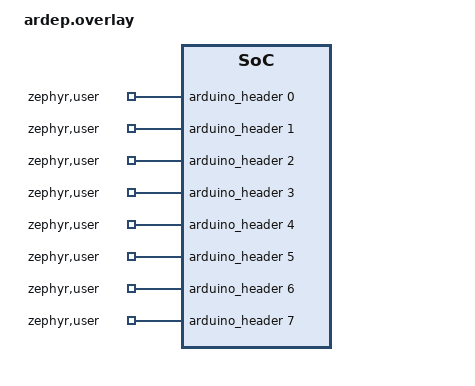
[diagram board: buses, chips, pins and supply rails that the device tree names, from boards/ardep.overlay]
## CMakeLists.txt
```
# SPDX-FileCopyrightText: Copyright (C) Frickly Systems GmbH
# SPDX-FileCopyrightText: Copyright (C) MBition GmbH
#
# SPDX-License-Identifier: Apache-2.0

cmake_minimum_required(VERSION 3.20.0)
find_package(Zephyr REQUIRED HINTS $ENV{ZEPHYR_BASE})
project(hardware_test)

FILE(GLOB app_sources src/*.c)
target_sources(app PRIVATE ${app_sources})
```

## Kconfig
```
# Copyright (C) Frickly Systems GmbH
# Copyright (C) MBition GmbH
#
# SPDX-License-Identifier: Apache-2.0

menu "Zephyr"
source "Kconfig.zephyr"
endmenu

module = APP
module-str = APP
source "subsys/logging/Kconfig.template.log_config"

config UART_TEST_DURATION_MS
    int "UART test duration in milliseconds"
    default 5000
    help
      Duration for which the UART tests will run.

config LIN_PRE_TEST_DELAY_MS
    int "LIN pre-test delay in milliseconds"
    default 1000
    help
      Delay before starting LIN frame transmission.

config LIN_MESSAGE_DELAY_MS
    int "LIN message delay in milliseconds"
    default 100
    help
      Delay between LIN messages.

config CAN_PRE_TEST_DELAY_MS
    int "CAN pre-test delay in milliseconds"
    default 1000
    help
      Delay before starting CAN frame transmission.

config CAN_FRAME_DELAY_MS
    int "CAN frame delay in milliseconds"
    default 50
    help
      Delay between CAN frames.

config CAN_POST_TEST_DELAY_MS
    int "CAN post-test delay in milliseconds"
    default 300
    help
      Delay after CAN tests before stopping.

config GPIO_PRE_TEST_DELAY_MS
    int "GPIO pre-test delay in milliseconds"
    default 300
    help
      Delay before starting GPIO toggle tests.

config GPIO_TOGGLE_DELAY_MS
    int "GPIO toggle delay in milliseconds"
    default 10
    help
      Delay for GPIO toggle operations.

config GPIO_POST_TEST_DELAY_MS
    int "GPIO post-test delay in milliseconds"
    default 100
    help
      Delay after GPIO tests are finished.
```

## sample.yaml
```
# Copyright (C) Frickly Systems GmbH
# Copyright (C) MBition GmbH

sample:
  name: Hardware Test
  description: Test the hardware of the ardep board
common:
  build_only: true
  integration_platforms:
    - ardep
tests:
  sample.hardware_test:
    integration_platforms:
      - ardep
```

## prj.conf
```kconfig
CONFIG_LOG=y
CONFIG_LOG_BACKEND_SHOW_COLOR=n
CONFIG_APP_LOG_LEVEL_INF=y
CONFIG_LOG_BUFFER_SIZE=2048

# get raw timestamp in [ms]
CONFIG_LOG_BACKEND_FORMAT_TIMESTAMP=n

CONFIG_CONSOLE_SUBSYS=y
CONFIG_CONSOLE_GETLINE=y

CONFIG_GPIO=y
CONFIG_HWINFO=y
CONFIG_CAN=y

# Disable UDS for no error logs
CONFIG_UDS=n

CONFIG_ARDEP_USB_PRODUCT_STRING="ARDEP Board SUT"

CONFIG_UART_TEST_DURATION_MS=3000
```

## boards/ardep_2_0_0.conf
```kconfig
# Copyright (C) Frickly Systems GmbH
# Copyright (C) MBition GmbH
#
# SPDX-License-Identifier: Apache-2.0

CONFIG_USB_DEVICE_STACK=y
CONFIG_USB_DEVICE_INITIALIZE_AT_BOOT=y
```

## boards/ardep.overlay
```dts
/*
 * SPDX-FileCopyrightText: Copyright (C) Frickly Systems GmbH
 * SPDX-FileCopyrightText: Copyright (C) MBition GmbH
 *
 * SPDX-License-Identifier: Apache-2.0
 */

/ {
    zephyr,user {
        gpios = <&arduino_header 0 GPIO_ACTIVE_HIGH>,
                <&arduino_header 1 GPIO_ACTIVE_HIGH>,
                <&arduino_header 2 GPIO_ACTIVE_HIGH>,
                <&arduino_header 3 GPIO_ACTIVE_HIGH>,
                <&arduino_header 4 GPIO_ACTIVE_HIGH>,
                <&arduino_header 5 GPIO_ACTIVE_HIGH>,
                <&arduino_header 6 GPIO_ACTIVE_HIGH>,
                <&arduino_header 7 GPIO_ACTIVE_HIGH>,
                <&arduino_header 8 GPIO_ACTIVE_HIGH>,
                <&arduino_header 9 GPIO_ACTIVE_HIGH>,
                <&arduino_header 10 GPIO_ACTIVE_HIGH>,
                <&arduino_header 11 GPIO_ACTIVE_HIGH>,
                <&arduino_header 12 GPIO_ACTIVE_HIGH>,
                <&arduino_header 13 GPIO_ACTIVE_HIGH>,
                <&arduino_header 14 GPIO_ACTIVE_HIGH>,
                <&arduino_header 15 GPIO_ACTIVE_HIGH>,
                <&arduino_header 16 GPIO_ACTIVE_HIGH>,
                <&arduino_header 17 GPIO_ACTIVE_HIGH>,
                <&arduino_header 18 GPIO_ACTIVE_HIGH>,
                <&arduino_header 19 GPIO_ACTIVE_HIGH>,
                <&arduino_header 20 GPIO_ACTIVE_HIGH>,
                <&arduino_header 21 GPIO_ACTIVE_HIGH>,

                <&gpioe 15 GPIO_ACTIVE_HIGH>, // HV Shield 1
                <&gpioe 14 GPIO_ACTIVE_HIGH>,
                <&gpioe 13 GPIO_ACTIVE_HIGH>,
                <&gpioe 12 GPIO_ACTIVE_HIGH>, // HV 4
                <&gpioe 11 GPIO_ACTIVE_HIGH>, // HV 7
                <&gpioe 10 GPIO_ACTIVE_HIGH>,
                <&gpioe 9 GPIO_ACTIVE_HIGH>,
                <&gpioe 8 GPIO_ACTIVE_HIGH>,
                <&gpioe 7 GPIO_ACTIVE_HIGH>,
                <&gpiob 2 GPIO_ACTIVE_HIGH>,
                <&gpiob 1 GPIO_ACTIVE_HIGH>,
                <&gpioc 5 GPIO_ACTIVE_HIGH>, // HV 14
                <&gpioc 4 GPIO_ACTIVE_HIGH>, // HV 17
                <&gpioa 6 GPIO_ACTIVE_HIGH>, // HV 19
                <&gpioa 5 GPIO_ACTIVE_HIGH>,
                <&gpioa 4 GPIO_ACTIVE_HIGH>,
                <&gpioa 2 GPIO_ACTIVE_HIGH>,
                <&gpioa 0 GPIO_ACTIVE_HIGH>,
                <&gpiof 2 GPIO_ACTIVE_HIGH>,
                <&gpioc 2 GPIO_ACTIVE_HIGH>,
                <&gpioc 0 GPIO_ACTIVE_HIGH>, // HV 26
                <&gpiof 10 GPIO_ACTIVE_HIGH>, // HV 29
                <&gpiof 9 GPIO_ACTIVE_HIGH>,
                <&gpioc 15 GPIO_ACTIVE_HIGH>,
                <&gpioc 14 GPIO_ACTIVE_HIGH> // HV 3
                ;
                
        uarts = <&uart_a>, 
                <&uart_b>;
        
        cans = <&can_a>,
               <&can_b>;
               
        lins = <&lin_uart>;
    };
};

&arduino_i2c {
    status = "disabled";
};

&arduino_spi {
    status = "disabled";
};

&arduino_serial {
    status = "disabled";
};

&adc1 {
    status = "disabled";
};

&adc2 {
    status = "disabled";
};

&adc3 {
    status = "disabled";
};

&adc4 {
    status = "disabled";
};

&dac1 {
    status = "disabled";
};

&dac2 {
    status = "disabled";
};
```

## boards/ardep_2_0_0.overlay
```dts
/*
 * SPDX-FileCopyrightText: Copyright (c) 2019 STMicroelectronics.
 * SPDX-FileCopyrightText: Copyright (C) Frickly Systems GmbH
 * SPDX-FileCopyrightText: Copyright (C) MBition GmbH
 *
 * SPDX-License-Identifier: Apache-2.0
 */

/ {
    chosen {
        zephyr,console = &usb_cdc_acm;
    };
};

&usb {
    status = "okay";

    usb_cdc_acm: usb-cdc-acm {
        status = "okay";
        compatible = "zephyr,cdc-acm-uart";
    };
};
```

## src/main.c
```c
/*
 * SPDX-FileCopyrightText: Copyright (C) Frickly Systems GmbH
 * SPDX-FileCopyrightText: Copyright (C) MBition GmbH
 *
 * SPDX-License-Identifier: Apache-2.0
 */

#include "zephyr/devicetree.h"
#include "zephyr/drivers/gpio.h"
#include "zephyr/logging/log.h"
#include "zephyr/sys/printk.h"

#include <string.h>

#include <zephyr/console/console.h>
#include <zephyr/kernel.h>

#define LOG_MODULE_NAME sut
LOG_MODULE_REGISTER(LOG_MODULE_NAME, CONFIG_APP_LOG_LEVEL);

#define COMMAND_MAX_LEN 64
#define COMMAND_QUEUE_LEN 4
#define COMMAND_RECEIVER_STACK_SIZE 1024
#define COMMAND_DISPATCH_STACK_SIZE 2048

K_MSGQ_DEFINE(command_queue, COMMAND_MAX_LEN, COMMAND_QUEUE_LEN, 4);
K_MUTEX_DEFINE(command_mutex);

K_THREAD_STACK_DEFINE(command_receiver_stack, COMMAND_RECEIVER_STACK_SIZE);
K_THREAD_STACK_DEFINE(command_dispatch_stack, COMMAND_DISPATCH_STACK_SIZE);

static struct k_thread command_receiver_thread_data;
static struct k_thread command_dispatch_thread_data;

void gpio_test(void);
void log_hardware_info(void);
void uart_test(void);
void can_test(void);
void lin_test(void);

static void command_receiver_thread(void* p1, void* p2, void* p3);
static void command_dispatch_thread(void* p1, void* p2, void* p3);

int main() {
  console_getline_init();
  LOG_INF("Tester Firmware started");

  k_tid_t receiver_tid = k_thread_create(
      &command_receiver_thread_data, command_receiver_stack,
      K_THREAD_STACK_SIZEOF(command_receiver_stack), command_receiver_thread,
      NULL, NULL, NULL, K_PRIO_PREEMPT(1), 0, K_NO_WAIT);

  k_tid_t dispatch_tid = k_thread_create(
      &command_dispatch_thread_data, command_dispatch_stack,
      K_THREAD_STACK_SIZEOF(command_dispatch_stack), command_dispatch_thread,
      NULL, NULL, NULL, K_PRIO_PREEMPT(1), 0, K_NO_WAIT);

  k_thread_name_set(receiver_tid, "cmd_rx");
  k_thread_name_set(dispatch_tid, "cmd_dispatch");

  while (true) {
    k_msleep(1000);
  }
}

static void execute_command(const char* command) {
  if (strcmp(command, "hwInfo start") == 0) {
    LOG_INF("hwInfo start");
    log_hardware_info();
    LOG_INF("hwInfo stop");
  } else if (strcmp(command, "gpio start") == 0) {
    LOG_INF("gpio start");
    gpio_test();
    LOG_INF("gpio stop");
  } else if (strcmp(command, "can start") == 0) {
    LOG_INF("can start");
    can_test();
    LOG_INF("can stop");
  } else if (strcmp(command, "lin start") == 0) {
    LOG_INF("lin start");
    lin_test();
    LOG_INF("lin stop");
  } else if (strcmp(command, "uart start") == 0) {
    LOG_INF("uart start");
    uart_test();
    LOG_INF("uart stop");
  } else {
    LOG_ERR("Unknown command: %s", command);
  }
}

static void dispatch_command(const char* command) {
  int err = k_mutex_lock(&command_mutex, K_FOREVER);

  if (err != 0) {
    LOG_ERR("Failed to lock command mutex (err %d)", err);
    return;
  }

  execute_command(command);

  err = k_mutex_unlock(&command_mutex);
  if (err != 0) {
    LOG_ERR("Failed to unlock command mutex (err %d)", err);
  }
}

static void handle_console_input(void) {
  char* input = console_getline();

  if (input == NULL) {
    return;
  }

  size_t length = strlen(input);
  if (length >= COMMAND_MAX_LEN) {
    LOG_WRN("Command too long, will be truncated");
  }

  char command[COMMAND_MAX_LEN];
  memset(command, 0, sizeof(command));
  strncpy(command, input, sizeof(command) - 1);

  if (strcmp("idle", command) == 0) {
    int err = k_mutex_lock(&command_mutex, K_NO_WAIT);
    if (err != 0) {
      LOG_INF("idle false");
    } else {
      LOG_INF("idle true");
    }
    k_mutex_unlock(&command_mutex);

    return;
  }

  int err = k_msgq_put(&command_queue, command, K_FOREVER);
  if (err != 0) {
    LOG_ERR("Failed to enqueue command (err %d)", err);
  }
}

static void command_receiver_thread(void* p1, void* p2, void* p3) {
  ARG_UNUSED(p1);
  ARG_UNUSED(p2);
  ARG_UNUSED(p3);

  while (true) {
    handle_console_input();
  }
}

static void command_dispatch_thread(void* p1, void* p2, void* p3) {
  ARG_UNUSED(p1);
  ARG_UNUSED(p2);
  ARG_UNUSED(p3);

  char command[COMMAND_MAX_LEN];

  while (true) {
    int err = k_msgq_get(&command_queue, command, K_FOREVER);

    if (err != 0) {
      LOG_ERR("Failed to retrieve command (err %d)", err);
      continue;
    }

    command[COMMAND_MAX_LEN - 1] = '\0';

    dispatch_command(command);
  }
}
```

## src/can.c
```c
/*
 * SPDX-FileCopyrightText: Copyright (C) Frickly Systems GmbH
 * SPDX-FileCopyrightText: Copyright (C) MBition GmbH
 *
 * SPDX-License-Identifier: Apache-2.0
 */

#include "zephyr/device.h"
#include "zephyr/devicetree.h"
#include "zephyr/drivers/can.h"
#include "zephyr/logging/log.h"
#include "zephyr/sys/printk.h"

#include <zephyr/kernel.h>

#define LOG_MODULE_NAME sut
LOG_MODULE_DECLARE(LOG_MODULE_NAME, CONFIG_APP_LOG_LEVEL);

#define DEVICE_DT_BY_PROP_IDX(node_id, prop, idx) \
  DEVICE_DT_GET(DT_PHANDLE_BY_IDX(node_id, prop, idx))

#define ZEPHYR_USER_NODE DT_PATH(zephyr_user)

static const struct device* const can_devices[] = {DT_FOREACH_PROP_ELEM_SEP(
    ZEPHYR_USER_NODE, cans, DEVICE_DT_BY_PROP_IDX, (, ))};

static void init_can(void) {
  for (int i = 0; i < ARRAY_SIZE(can_devices); i++) {
    const struct device* dev = can_devices[i];
    int err;

    if (!device_is_ready(dev)) {
      LOG_ERR("%s: device not ready", dev->name);
      continue;
    }

    err = can_start(dev);
    if (err != 0) {
      LOG_ERR("%s: error starting CAN controller (err %d)", dev->name, err);
    }
  }
}

static void send_can_frame(void) {
  for (int i = 0; i < ARRAY_SIZE(can_devices); i++) {
    const struct device* dev = can_devices[i];
    struct can_frame frame = {0};

    frame.id = 0x65;
    frame.data[0] = 0x34;
    frame.dlc = 1;

    LOG_INF("%s: frame id: %x, data: %x", dev->name, frame.id, frame.data[0]);

    int rc = can_send(dev, &frame, K_NO_WAIT, NULL, NULL);
    if (rc < 0) {
      LOG_ERR("%s: error sending CAN frame: %d", dev->name, rc);
    }
  }
}

static void send_frames(void) {
  for (int i = 0; i < 10; i++) {
    send_can_frame();
    k_msleep(CONFIG_CAN_FRAME_DELAY_MS);
  }
}

static void stop_can(void) {
  for (int i = 0; i < ARRAY_SIZE(can_devices); i++) {
    can_stop(can_devices[i]);
  }
}

void can_test(void) {
  init_can();
  k_msleep(CONFIG_CAN_PRE_TEST_DELAY_MS);

  send_frames();

  k_msleep(CONFIG_CAN_POST_TEST_DELAY_MS);
  stop_can();
}
```

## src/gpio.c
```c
/*
 * SPDX-FileCopyrightText: Copyright (C) Frickly Systems GmbH
 * SPDX-FileCopyrightText: Copyright (C) MBition GmbH
 *
 * SPDX-License-Identifier: Apache-2.0
 */

#include "zephyr/devicetree.h"
#include "zephyr/drivers/gpio.h"
#include "zephyr/logging/log.h"

#include <zephyr/kernel.h>

#define LOG_MODULE_NAME sut
LOG_MODULE_DECLARE(LOG_MODULE_NAME, CONFIG_APP_LOG_LEVEL);

#define ZEPHYR_USER_NODE DT_PATH(zephyr_user)

static const struct gpio_dt_spec gpios[] = {DT_FOREACH_PROP_ELEM_SEP(
    ZEPHYR_USER_NODE, gpios, GPIO_DT_SPEC_GET_BY_IDX, (, ))};

static void gpio_ready_check() {
  LOG_INF("gpio ready check");
  for (int i = 0; i < ARRAY_SIZE(gpios); i++) {
    if (!gpio_is_ready_dt(&gpios[i])) {
      LOG_ERR("gpio device not ready: %s", gpios[i].port->name);
    }
  }
  LOG_INF("gpio ready check finished");
}

static void gpio_initialize() {
  LOG_INF("gpio configure");
  for (int i = 0; i < ARRAY_SIZE(gpios); i++) {
    int ret = gpio_pin_configure_dt(&gpios[i], GPIO_OUTPUT_INACTIVE);

    if (ret < 0) {
      LOG_ERR("gpio configure %s pin %d with error %d", gpios[i].port->name,
              gpios[i].pin, ret);
    }
  }

  LOG_INF("gpio configure finished");
}
static void gpio_toggle() {
  for (int i = 0; i < ARRAY_SIZE(gpios); i++) {
    LOG_INF("%s pin %d on", gpios[i].port->name, gpios[i].pin);
    gpio_pin_set_dt(&gpios[i], 1);
    k_msleep(CONFIG_GPIO_TOGGLE_DELAY_MS);
    gpio_pin_set_dt(&gpios[i], 0);
    k_msleep(CONFIG_GPIO_TOGGLE_DELAY_MS);
  }
}

static void disable_gpios() {
  for (int i = 0; i < ARRAY_SIZE(gpios); i++) {
    gpio_pin_set_dt(&gpios[i], 0);
  }
}

void gpio_test(void) {
  gpio_ready_check();
  gpio_initialize();
  k_msleep(CONFIG_GPIO_PRE_TEST_DELAY_MS);
  gpio_toggle();
  k_msleep(CONFIG_GPIO_POST_TEST_DELAY_MS);
  disable_gpios();
}
```

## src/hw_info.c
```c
/*
 * SPDX-FileCopyrightText: Copyright (C) Frickly Systems GmbH
 * SPDX-FileCopyrightText: Copyright (C) MBition GmbH
 *
 * SPDX-License-Identifier: Apache-2.0
 */

#include "zephyr/drivers/hwinfo.h"
#include "zephyr/kernel.h"
#include "zephyr/logging/log.h"

#define LOG_MODULE_NAME sut
LOG_MODULE_DECLARE(LOG_MODULE_NAME, CONFIG_APP_LOG_LEVEL);

uint8_t hw_info[60];

void log_hardware_info(void) {
  ssize_t length = hwinfo_get_device_id(hw_info, 60);

  char hex_string[length * 2 + 1];
  for (int i = 0; i < length; i++) {
    sprintf(&hex_string[i * 2], "%02X", hw_info[i]);
  }
  hex_string[length * 2] = '\0';

  uint8_t i;
  for (i = 0; i < 60; i++) {
    hw_info[i] = 0;
  }

  LOG_INF("id: %s", hex_string);
}
```

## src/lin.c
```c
/*
 * SPDX-FileCopyrightText: Copyright (C) Frickly Systems GmbH
 * SPDX-FileCopyrightText: Copyright (C) MBition GmbH
 *
 * SPDX-License-Identifier: Apache-2.0
 */

#include "zephyr/logging/log.h"
#include "zephyr/sys/printk.h"

#include <zephyr/console/console.h>
#include <zephyr/device.h>
#include <zephyr/drivers/uart.h>
#include <zephyr/kernel.h>

#define LOG_MODULE_NAME sut
LOG_MODULE_DECLARE(LOG_MODULE_NAME, CONFIG_APP_LOG_LEVEL);

#define DEVICE_DT_BY_PROP_IDX(node_id, prop, idx) \
  DEVICE_DT_GET(DT_PHANDLE_BY_IDX(node_id, prop, idx))

#define ZEPHYR_USER_NODE DT_PATH(zephyr_user)

static const struct device* const lin_devices[] = {DT_FOREACH_PROP_ELEM_SEP(
    ZEPHYR_USER_NODE, lins, DEVICE_DT_BY_PROP_IDX, (, ))};

static void setup_uarts() {
  for (int i = 0; i < ARRAY_SIZE(lin_devices); i++) {
    const struct device* dev = lin_devices[i];
    if (!device_is_ready(dev)) {
      LOG_ERR("%s: UART device not ready", dev->name);
      continue;
    }

    char byte;
    while (uart_fifo_read(dev, &byte, 1) == 1) {
    }
  }
}

static void send_messages() {
  for (int i = 0; i < ARRAY_SIZE(lin_devices); i++) {
    const struct device* dev = lin_devices[i];
    for (int j = 0; j < 4; j++) {
      LOG_INF("%s sending: f", dev->name);
      uart_poll_out(dev, 'f');
      k_msleep(CONFIG_LIN_MESSAGE_DELAY_MS);
    }
  }
}

void lin_test(void) {
  setup_uarts();
  k_msleep(CONFIG_LIN_PRE_TEST_DELAY_MS);
  send_messages();
}
```

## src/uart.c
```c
/*
 * SPDX-FileCopyrightText: Copyright (C) Frickly Systems GmbH
 * SPDX-FileCopyrightText: Copyright (C) MBition GmbH
 *
 * SPDX-License-Identifier: Apache-2.0
 */

#include "zephyr/logging/log.h"
#include "zephyr/sys/printk.h"

#include <zephyr/console/console.h>
#include <zephyr/device.h>
#include <zephyr/drivers/uart.h>
#include <zephyr/kernel.h>

#define LOG_MODULE_NAME sut
LOG_MODULE_DECLARE(LOG_MODULE_NAME, CONFIG_APP_LOG_LEVEL);

#define DEVICE_DT_BY_PROP_IDX(node_id, prop, idx) \
  DEVICE_DT_GET(DT_PHANDLE_BY_IDX(node_id, prop, idx))

#define ZEPHYR_USER_NODE DT_PATH(zephyr_user)

static const struct device* const uart_devices[] = {DT_FOREACH_PROP_ELEM_SEP(
    ZEPHYR_USER_NODE, uarts, DEVICE_DT_BY_PROP_IDX, (, ))};

static void uart_interrupt_callback(const struct device* dev, void* user_data) {
  uint8_t byte;

  if (!uart_irq_update(dev)) {
    return;
  }

  if (!uart_irq_rx_ready(dev)) {
    return;
  }

  while (uart_fifo_read(dev, &byte, 1) == 1) {
    LOG_INF("%s: received %c", dev->name, byte);
    uart_poll_out(dev, byte);
  }
}

static void setup_uarts() {
  for (int i = 0; i < ARRAY_SIZE(uart_devices); i++) {
    const struct device* dev = uart_devices[i];
    if (!device_is_ready(dev)) {
      LOG_ERR("%s: UART device not ready", dev->name);
      continue;
    }

    char byte;
    while (uart_fifo_read(dev, &byte, 1) == 1) {
    }

    int ret =
        uart_irq_callback_user_data_set(dev, uart_interrupt_callback, NULL);

    if (ret < 0) {
      if (ret == -ENOTSUP) {
        LOG_ERR("%s: Interrupt-driven UART API support not enabled", dev->name);
      } else if (ret == -ENOSYS) {
        LOG_ERR("%s: UART device does not support interrupt-driven API",
                dev->name);
      } else {
        LOG_ERR("%s: Error setting UART callback: %d", dev->name, ret);
      }
      continue;
    }
    uart_irq_rx_enable(dev);
  }
}

static void execute_test() {
  // give enough time to work
  k_msleep(CONFIG_UART_TEST_DURATION_MS);
}

static void disable_uart_interrupts() {
  for (int i = 0; i < ARRAY_SIZE(uart_devices); i++) {
    uart_irq_rx_disable(uart_devices[i]);
  }
}

void uart_test(void) {
  setup_uarts();
  execute_test();
  disable_uart_interrupts();
}
```
